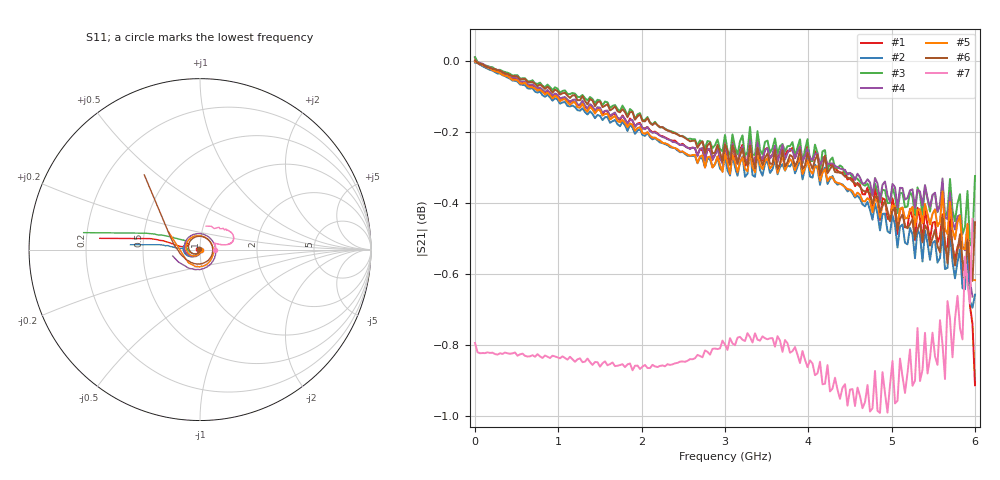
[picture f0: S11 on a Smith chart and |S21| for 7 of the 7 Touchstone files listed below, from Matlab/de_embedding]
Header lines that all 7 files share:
# Hz S RI R 50
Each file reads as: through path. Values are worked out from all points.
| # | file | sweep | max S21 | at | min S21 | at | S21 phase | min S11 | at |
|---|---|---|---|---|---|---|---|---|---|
| 1 | fixtureA_C.s2p | 300 kHz to 6 GHz | 0.01 dB | 300 kHz | -0.9 dB | 6 GHz | -122 deg at 3 GHz | -41.7 dB | 30.3 MHz |
| 2 | fixtureA_L.s2p | 300 kHz to 6 GHz | -0.01 dB | 300 kHz | -0.7 dB | 5.97 GHz | -120 deg at 3 GHz | -44.1 dB | 30.3 MHz |
| 3 | fixtureA_R.s2p | 300 kHz to 6 GHz | 0.01 dB | 300 kHz | -0.5 dB | 5.94 GHz | -118 deg at 3 GHz | -53.9 dB | 30.3 MHz |
| 4 | fixtureB_C.s2p | 300 kHz to 5.97 GHz | 0.00 dB | 300 kHz | -0.7 dB | 5.97 GHz | -122 deg at 3 GHz | -41.6 dB | 30.3 MHz |
| 5 | fixtureB_L.s2p | 300 kHz to 6 GHz | 0.00 dB | 300 kHz | -0.6 dB | 6 GHz | -120 deg at 3 GHz | -44.1 dB | 30.3 MHz |
| 6 | fixtureB_R.s2p | 300 kHz to 6 GHz | 0.00 dB | 300 kHz | -0.6 dB | 5.97 GHz | -118 deg at 3 GHz | -54.2 dB | 30.3 MHz |
| 7 | RES_0603_10OHM.s2p | 300 kHz to 5.97 GHz | -0.44 dB | 5.97 GHz | -1.0 dB | 4.86 GHz | -9 deg at 3 GHz | -20.9 dB | 60.3 MHz |
